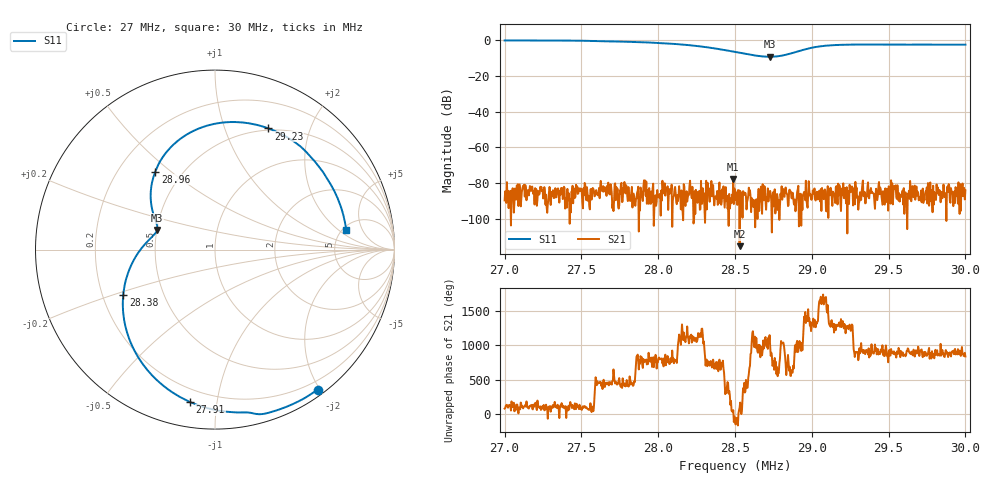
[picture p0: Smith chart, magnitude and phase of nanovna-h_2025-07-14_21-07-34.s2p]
! NanoVNA-App by OneOfEleven et al v1.1.209 (+OD18)
! Date: 2025-07-14 21:07:35
! Start: 27MHz Stop: 30MHz Points: 801
! S-Parameter data: F S11 S21 S12 S22
# Hz S RI R 50
!  Frequency  S11_Real  S11_Imag  S21_Real  S21_Imag  S12_Real  S12_Imag  S22_Real  S22_Imag
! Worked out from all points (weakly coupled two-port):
!   801 points, 27 MHz to 30 MHz, reference 50 ohm
!   highest |S21| = -77.55 dB at 28.49 MHz (marker M1); lowest = -115.1 dB at 28.53 MHz (marker M2)
!   lowest |S11| = -9.4 dB at 28.73 MHz (marker M3), VSWR 2.03, Z = 25.2 + j6.19 ohm
!   |S11| at or under -10 dB: nowhere
!   S12 and S22 are empty: the file has one direction only
!   S11 on the Smith chart (normalised r, x): 27 MHz: 0.08, -1.97; 27.91 MHz: 0.13, -0.84; 28.38 MHz: 0.29, -0.21; 28.96 MHz: 0.36, +0.44; 29.23 MHz: 0.48, +1.42; 30 MHz: 5.35, +2.64
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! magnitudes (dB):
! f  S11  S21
! 27 MHz  -0.3  -89.5
! 27.5 MHz  -0.4  -85.3
! 27.89 MHz  -1.3  -84.0
! 27.91 MHz  -1.3  -78.3
! 27.94 MHz  -1.4  -82.6
! 28 MHz  -1.7  -87.4
! 28.2 MHz  -2.9  -81.3
! 28.38 MHz  -4.9  -88.6
! 28.47 MHz  -6.2  -91.4
! 28.47 MHz  -6.3  -88.4
! 28.49 MHz  -6.5  -77.5
! 28.5 MHz  -6.7  -84.6
! 28.53 MHz  -7.2  -115.1
! 28.65 MHz  -8.9  -89.0
! 28.73 MHz  -9.4  -84.2
! 28.82 MHz  -8.5  -87.2
! 28.96 MHz  -5.2  -89.4
! 29 MHz  -4.3  -88.4
! 29.1 MHz  -3.1  -95.8
! 29.23 MHz  -2.6  -84.1
! 29.5 MHz  -2.6  -81.7
! 30 MHz  -2.6  -83.9
